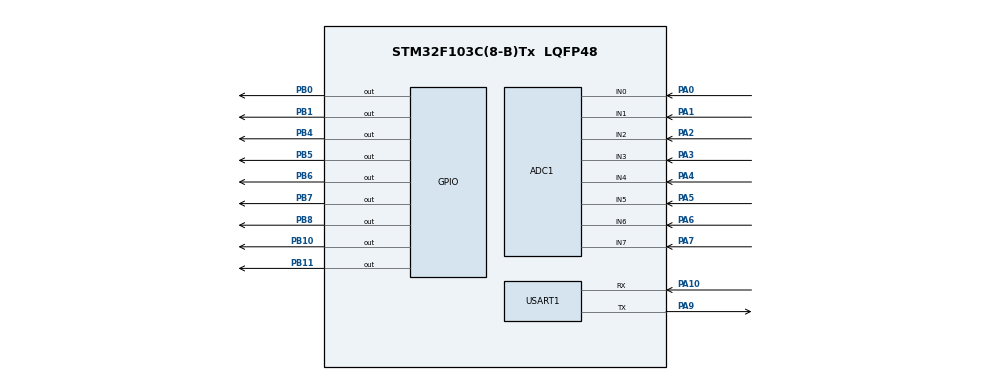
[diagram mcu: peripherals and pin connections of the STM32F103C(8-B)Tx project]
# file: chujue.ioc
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ADC1.Channel-4\#ChannelRegularConversion=ADC_CHANNEL_0
ADC1.NbrOfConversion=1
ADC1.NbrOfConversionFlag=1
ADC1.Rank-4\#ChannelRegularConversion=1
ADC1.SamplingTime-4\#ChannelRegularConversion=ADC_SAMPLETIME_239CYCLES_5
ADC1.master=1
Dma.ADC1.0.Direction=DMA_PERIPH_TO_MEMORY
Dma.ADC1.0.Instance=DMA1_Channel1
Dma.ADC1.0.MemDataAlignment=DMA_MDATAALIGN_HALFWORD
Dma.ADC1.0.MemInc=DMA_MINC_ENABLE
Dma.ADC1.0.Mode=DMA_NORMAL
Dma.ADC1.0.PeriphDataAlignment=DMA_PDATAALIGN_HALFWORD
Dma.ADC1.0.PeriphInc=DMA_PINC_DISABLE
Dma.ADC1.0.Priority=DMA_PRIORITY_HIGH
Dma.Request0=ADC1
Mcu.Family=STM32F1
Mcu.Name=STM32F103C(8-B)Tx
Mcu.Package=LQFP48
NVIC.DMA1_Channel1_IRQn=true\:0\:0\:false\:false\:true\:false\:true\:true
NVIC.PriorityGroup=NVIC_PRIORITYGROUP_4
NVIC.TIM1_UP_IRQn=true\:0\:0\:false\:false\:true\:true\:true\:true
PA0-WKUP.Signal=ADCx_IN0
PA1.Signal=ADCx_IN1
PA10.Mode=Asynchronous
PA10.Signal=USART1_RX
PA13.Mode=JTAG_4_pins
PA13.Signal=SYS_JTMS-SWDIO
PA14.Mode=JTAG_4_pins
PA14.Signal=SYS_JTCK-SWCLK
PA15.Mode=JTAG_4_pins
PA15.Signal=SYS_JTDI
PA2.Signal=ADCx_IN2
PA3.Signal=ADCx_IN3
PA4.Signal=ADCx_IN4
PA5.Signal=ADCx_IN5
PA6.Signal=ADCx_IN6
PA7.Signal=ADCx_IN7
PA9.Mode=Asynchronous
PA9.Signal=USART1_TX
PB0.GPIO_Speed=GPIO_SPEED_FREQ_HIGH
PB0.Signal=GPIO_Output
PB1.GPIO_Speed=GPIO_SPEED_FREQ_HIGH
PB1.Signal=GPIO_Output
PB10.GPIO_Speed=GPIO_SPEED_FREQ_HIGH
PB10.Signal=GPIO_Output
PB11.GPIO_Speed=GPIO_SPEED_FREQ_HIGH
PB11.Signal=GPIO_Output
PB3.Mode=JTAG_4_pins
PB3.Signal=SYS_JTDO-TRACESWO
PB4.GPIO_Speed=GPIO_SPEED_FREQ_HIGH
PB4.Signal=GPIO_Output
PB5.GPIO_Speed=GPIO_SPEED_FREQ_HIGH
PB5.Signal=GPIO_Output
PB6.GPIO_Speed=GPIO_SPEED_FREQ_HIGH
PB6.Signal=GPIO_Output
PB7.GPIO_Speed=GPIO_SPEED_FREQ_HIGH
PB7.Signal=GPIO_Output
PB8.GPIO_Speed=GPIO_SPEED_FREQ_HIGH
PB8.Signal=GPIO_Output
PD0-OSC_IN.Mode=HSE-External-Oscillator
PD0-OSC_IN.Signal=RCC_OSC_IN
PD1-OSC_OUT.Mode=HSE-External-Oscillator
PD1-OSC_OUT.Signal=RCC_OSC_OUT
ProjectManager.HeapSize=0x200
ProjectManager.StackSize=0x400
ProjectManager.TargetToolchain=CMake
RCC.APB1Freq_Value=8000000
RCC.APB2Freq_Value=8000000
SH.ADCx_IN0.0=ADC1_IN0,IN0
SH.ADCx_IN1.0=ADC1_IN1,IN1
SH.ADCx_IN2.0=ADC1_IN2,IN2
SH.ADCx_IN3.0=ADC1_IN3,IN3
SH.ADCx_IN4.0=ADC1_IN4,IN4
SH.ADCx_IN5.0=ADC1_IN5,IN5
SH.ADCx_IN6.0=ADC1_IN6,IN6
SH.ADCx_IN7.0=ADC1_IN7,IN7
TIM1.Channel-Output\ Compare1\ No\ Output=TIM_CHANNEL_1
TIM1.Period=3999
USART1.VirtualMode=VM_ASYNC
VP_TIM1_VS_no_output1.Mode=Output Compare1 No Output
board=custom

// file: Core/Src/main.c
/* USER CODE BEGIN Header */
/**
  ******************************************************************************
  * @file           : main.c
  * @brief          : Main program body
  ******************************************************************************
  * @attention
  *
  * Copyright (c) 2026 STMicroelectronics.
  * All rights reserved.
  *
  * This software is licensed under terms that can be found in the LICENSE file
  * in the root directory of this software component.
  * If no LICENSE file comes with this software, it is provided AS-IS.
  *
  ******************************************************************************
  */
/* USER CODE END Header */
#include "main.h"
#include "adc.h"
#include "dma.h"
#include "tim.h"
#include "usart.h"
#include "gpio.h"

/* USER CODE BEGIN PD */

#define MATRIX_EXC_COUNT    8U    /* excitation GPIO count */
#define MATRIX_ADC_COUNT    8U    /* ADC sensing channel count */
/* Frame: 8×8 samples, each 4B = [exc_id][adc_ch][hi][lo] */
#define MATRIX_SAMPLE_COUNT (MATRIX_EXC_COUNT * MATRIX_ADC_COUNT)
#define FRAME_BYTE_SIZE     (MATRIX_SAMPLE_COUNT * 4U)

/* All 8 excitation pins on GPIOB:
   PB7, PB6, PB5, PB4, PB0, PB1, PB10, PB11 */
#define MATRIX_ALL_PINS  (GPIO_PIN_7|GPIO_PIN_6|GPIO_PIN_5|GPIO_PIN_4| \
                          GPIO_PIN_0|GPIO_PIN_1|GPIO_PIN_10|GPIO_PIN_11)

/* State machine steps — one step per TIM1 tick */
typedef enum {
    SM_CLOSE_ALL = 0,
    SM_OPEN_ONE,
    SM_SETTLE,
    SM_ADC_START,
    SM_DMA_WAIT,
    SM_SAVE,
    SM_NEXT_ADC,      /* next ADC channel in current excitation */
    SM_NEXT_EXC,      /* next excitation GPIO or frame done */
    SM_WAIT_SEND,     /* wait for main loop to send frame before next scan */
    SM_COUNT
} SmStep_t;

/* USER CODE END PD */

/* USER CODE BEGIN PV */

/* ---- State machine variables ---- */
static volatile SmStep_t   sm_step         = SM_CLOSE_ALL;
static volatile uint8_t    sm_exc_idx      = 0;  /* current excitation GPIO (0..7) */
static volatile uint8_t    sm_adc_idx      = 0;  /* current ADC channel (0..7) */
static volatile uint8_t    sm_frame_ready  = 0;
static volatile uint16_t   sm_frame_write  = 0;  /* byte offset in frame buffer */

/* ADC DMA target buffer (32-bit aligned, DMA writes low 16 bits) */
static volatile uint32_t   sm_adc_dma_buf  = 0;

/* Frame buffer: 256 bytes (64 samples × 4B: [exc_id][adc_ch][hi][lo]) */
static volatile uint8_t    sm_frame_buf[FRAME_BYTE_SIZE];

/* ---- Excitation GPIO map (PB port, ordered) ---- */
static const uint16_t sm_exc_pins[MATRIX_EXC_COUNT] = {
    GPIO_PIN_7,           /* exc index 0 → PB7  */
    GPIO_PIN_6,           /* exc index 1 → PB6  */
    GPIO_PIN_5,           /* exc index 2 → PB5  */
    GPIO_PIN_4,           /* exc index 3 → PB4  */
    GPIO_PIN_0,           /* exc index 4 → PB0  */
    GPIO_PIN_1,           /* exc index 5 → PB1  */
    GPIO_PIN_10,          /* exc index 6 → PB10 */
    GPIO_PIN_11           /* exc index 7 → PB11 */
};

/* Pin numbers for register-level CRL/CRH manipulation (0..15) */
static const uint8_t sm_exc_pin_nums[MATRIX_EXC_COUNT] = {
    7U,   /* PB7  → CRL[31:28] */
    6U,   /* PB6  → CRL[27:24] */
    5U,   /* PB5  → CRL[23:20] */
    4U,   /* PB4  → CRL[19:16] */
    0U,   /* PB0  → CRL[3:0]   */
    1U,   /* PB1  → CRL[7:4]   */
    10U,  /* PB10 → CRH[11:8]  */
    11U   /* PB11 → CRH[15:12] */
};

/* ---- ADC channel map (PA0→CH0 .. PA7→CH7, sequential) ---- */
static const uint8_t sm_adc_chans[MATRIX_ADC_COUNT] = {
    ADC_CHANNEL_0, ADC_CHANNEL_1, ADC_CHANNEL_2, ADC_CHANNEL_3,
    ADC_CHANNEL_4, ADC_CHANNEL_5, ADC_CHANNEL_6, ADC_CHANNEL_7
};

/* USER CODE END PV */

void SystemClock_Config(void);
/* USER CODE BEGIN PFP */
static void DWT_Init(void);
static void DWT_DelayUs(uint32_t us);
void SM_UserTick(void);
/* USER CODE END PFP */

/* USER CODE BEGIN 0 */

/* ========== DWT (Data Watchpoint and Trace) delay ========== */

static void DWT_Init(void)
{
    /* Enable DWT cycle counter (Cortex-M3) */
    CoreDebug->DEMCR  |= CoreDebug_DEMCR_TRCENA_Msk;
    DWT->CYCCNT        = 0U;
    DWT->CTRL         |= DWT_CTRL_CYCCNTENA_Msk;
}

static void DWT_DelayUs(uint32_t us)
{
    uint32_t start = DWT->CYCCNT;
    uint32_t ticks = us * (SystemCoreClock / 1000000U);
    while ((DWT->CYCCNT - start) < ticks) {
        /* spin */
    }
}

/* ========== State machine — called from TIM1 ISR ========== */
extern DMA_HandleTypeDef hdma_adc1;  /* defined in adc.c */

void SM_UserTick(void)
{
    uint16_t val;
    uint16_t off;
    uint8_t  pin;       /* pin number 0..15 for CRL/CRH ops */
    uint32_t shift;     /* bit shift into CRL/CRH */

    switch (sm_step) {

    /* -------- Step 0: all excitation pins → input pull-down (~40kΩ to GND) ----
     *  Pull-down provides a deterministic bleed path for ghost currents while
     *  being ~40 kΩ — high enough not to attenuate real signals, low enough
     *  to suppress crosstalk through the conductive material between touches. */
    case SM_CLOSE_ALL:
        /* Clear ODR to select pull-down (ODR=0 → PD, ODR=1 → PU) */
        GPIOB->BRR = MATRIX_ALL_PINS;
        /* CRL: PB0,1,4,5,6,7 → 0x8 (input pull-up/down), preserve PB2,3 */
        GPIOB->CRL = (GPIOB->CRL & ~0xFFFF00FFUL) | 0x88880088UL;
        /* CRH: PB10,11 → 0x8 (input pull-up/down), preserve PB8,9,12-15 */
        GPIOB->CRH = (GPIOB->CRH & ~0x0000FF00UL) | 0x00008800UL;
        sm_step = SM_OPEN_ONE;
        break;

    /* -------- Step 1: current excitation pin → output HIGH -------- */
    case SM_OPEN_ONE:
        /* Pre-set output data HIGH via BSRR (safe while pin is input) */
        GPIOB->BSRR = sm_exc_pins[sm_exc_idx];
        /* Switch pin mode to push-pull output 50 MHz (CNF=00 MODE=11 → 0x3) */
        pin   = sm_exc_pin_nums[sm_exc_idx];
        shift = (pin & 0x8U) ? ((pin - 8U) * 4U) : (pin * 4U);
        if (pin < 8U) {
            GPIOB->CRL = (GPIOB->CRL & ~(0xFUL << shift)) | (0x3UL << shift);
        } else {
            GPIOB->CRH = (GPIOB->CRH & ~(0xFUL << shift)) | (0x3UL << shift);
        }
        sm_step = SM_SETTLE;
        break;

    /* -------- Step 2: short settling delay (DWT, ~10 µs) -------- */
    case SM_SETTLE:
        DWT_DelayUs(10U);
        sm_step = SM_ADC_START;
        break;

    /* -------- Step 3: set ADC channel + start single DMA -------- */
    case SM_ADC_START:
        /* Switch ADC rank-1 channel directly (no HAL call in ISR) */
        ADC1->SQR3 = sm_adc_chans[sm_adc_idx] & 0x1FU;
        sm_adc_dma_buf = 0U;
        HAL_ADC_Start_DMA(&hadc1, (uint32_t *)&sm_adc_dma_buf, 1U);
        sm_step = SM_DMA_WAIT;
        break;

    /* -------- Step 4: poll DMA TC flag (no interrupt) -------- */
    case SM_DMA_WAIT:
        if (__HAL_DMA_GET_FLAG(&hdma_adc1, DMA_FLAG_TC1)) {
            __HAL_DMA_CLEAR_FLAG(&hdma_adc1, DMA_FLAG_TC1);
            HAL_ADC_Stop_DMA(&hadc1);
            sm_step = SM_SAVE;
        }
        /* else: stay in this step until DMA done */
        break;

    /* -------- Step 5: save [exc_id][adc_ch][hi][lo] to frame buffer -------- */
    case SM_SAVE:
        val = (uint16_t)(sm_adc_dma_buf & 0xFFFFU);
        off = sm_frame_write;
        sm_frame_buf[off]     = sm_exc_idx;               /* excitation ID */
        sm_frame_buf[off + 1] = sm_adc_chans[sm_adc_idx]; /* ADC channel   */
        sm_frame_buf[off + 2] = (uint8_t)(val >> 8);      /* ADC high byte */
        sm_frame_buf[off + 3] = (uint8_t)(val & 0xFF);    /* ADC low byte  */
        sm_frame_write = (uint16_t)(off + 4U);
        sm_step = SM_NEXT_ADC;
        break;

    /* -------- Step 6: next ADC channel or next excitation -------- */
    case SM_NEXT_ADC:
        sm_adc_idx++;
        if (sm_adc_idx >= MATRIX_ADC_COUNT) {
            sm_adc_idx = 0U;
            sm_step = SM_NEXT_EXC;
        } else {
            sm_step = SM_SETTLE;      /* settle before next ADC channel */
        }
        break;

    /* -------- Step 7: next excitation GPIO or frame complete -------- */
    case SM_NEXT_EXC:
        sm_exc_idx++;
        if (sm_exc_idx >= MATRIX_EXC_COUNT) {
            /* All 8×8 = 64 samples collected */
            sm_exc_idx     = 0U;
            sm_frame_write = 0U;
            sm_frame_ready = 1U;
            sm_step        = SM_WAIT_SEND;
        } else {
            sm_step = SM_CLOSE_ALL;    /* next excitation channel */
        }
        break;

    /* -------- Step 8: wait for main loop to send frame over UART -------- */
    case SM_WAIT_SEND:
        if (!sm_frame_ready) {         /* main loop cleared the flag */
            sm_step = SM_CLOSE_ALL;    /* start next scan cycle */
        }
        break;

    default:
        sm_step = SM_CLOSE_ALL;
        break;
    }
}

/* USER CODE END 0 */

int main(void)
{

  /* MCU Configuration--------------------------------------------------------*/

  /* Reset of all peripherals, Initializes the Flash interface and the Systick. */
  HAL_Init();

  /* Configure the system clock */
  SystemClock_Config();

  /* Initialize all configured peripherals */
  MX_GPIO_Init();
  MX_DMA_Init();
  MX_ADC1_Init();
  MX_TIM1_Init();
  MX_USART1_UART_Init();
  /* USER CODE BEGIN 2 */

  DWT_Init();

  /* Disable DMA1_Channel1 NVIC — we poll TC flag in state machine */
  HAL_NVIC_DisableIRQ(DMA1_Channel1_IRQn);

  /* Start TIM1 counter + update interrupt (2000 Hz tick) */
  HAL_TIM_Base_Start_IT(&htim1);

  /* USER CODE END 2 */

  /* Infinite loop */
  while (1)
  {

    /* USER CODE BEGIN 3 */

    if (sm_frame_ready) {
        /* Sync header + 256-byte frame (64 samples × 4B) */
        static const uint8_t sync[2] = {0xFFU, 0xAAU};
        HAL_UART_Transmit(&huart1, sync, 2U, HAL_MAX_DELAY);
        HAL_UART_Transmit(&huart1, (const uint8_t *)sm_frame_buf, FRAME_BYTE_SIZE, HAL_MAX_DELAY);
        sm_frame_ready = 0U;
    }

  /* USER CODE END 3 */
}

void SystemClock_Config(void)
{
  RCC_OscInitTypeDef RCC_OscInitStruct = {0};
  RCC_ClkInitTypeDef RCC_ClkInitStruct = {0};
  RCC_PeriphCLKInitTypeDef PeriphClkInit = {0};

  /** Initializes the RCC Oscillators according to the specified parameters
  * in the RCC_OscInitTypeDef structure.
  */
  RCC_OscInitStruct.OscillatorType = RCC_OSCILLATORTYPE_HSI;
  RCC_OscInitStruct.HSIState = RCC_HSI_ON;
  RCC_OscInitStruct.HSICalibrationValue = RCC_HSICALIBRATION_DEFAULT;
  RCC_OscInitStruct.PLL.PLLState = RCC_PLL_NONE;
  if (HAL_RCC_OscConfig(&RCC_OscInitStruct) != HAL_OK)
  {
    Error_Handler();
  }

  /** Initializes the CPU, AHB and APB buses clocks
  */
  RCC_ClkInitStruct.ClockType = RCC_CLOCKTYPE_HCLK|RCC_CLOCKTYPE_SYSCLK
                              |RCC_CLOCKTYPE_PCLK1|RCC_CLOCKTYPE_PCLK2;
  RCC_ClkInitStruct.SYSCLKSource = RCC_SYSCLKSOURCE_HSI;
  RCC_ClkInitStruct.AHBCLKDivider = RCC_SYSCLK_DIV1;
  RCC_ClkInitStruct.APB1CLKDivider = RCC_HCLK_DIV1;
  RCC_ClkInitStruct.APB2CLKDivider = RCC_HCLK_DIV1;

  if (HAL_RCC_ClockConfig(&RCC_ClkInitStruct, FLASH_LATENCY_0) != HAL_OK)
  {
    Error_Handler();
  }
  PeriphClkInit.PeriphClockSelection = RCC_PERIPHCLK_ADC;
  PeriphClkInit.AdcClockSelection = RCC_ADCPCLK2_DIV2;
  if (HAL_RCCEx_PeriphCLKConfig(&PeriphClkInit) != HAL_OK)
  {
    Error_Handler();
  }
}

/* USER CODE BEGIN 4 */

} /* ← main() closing brace — CubeMX drops this, keep here to survive regen */

/* USER CODE END 4 */

void Error_Handler(void)
{
  /* USER CODE BEGIN Error_Handler_Debug */
  /* User can add his own implementation to report the HAL error return state */
  __disable_irq();
  while (1)
  {/*test with git*/
  }
  /* USER CODE END Error_Handler_Debug */
}
